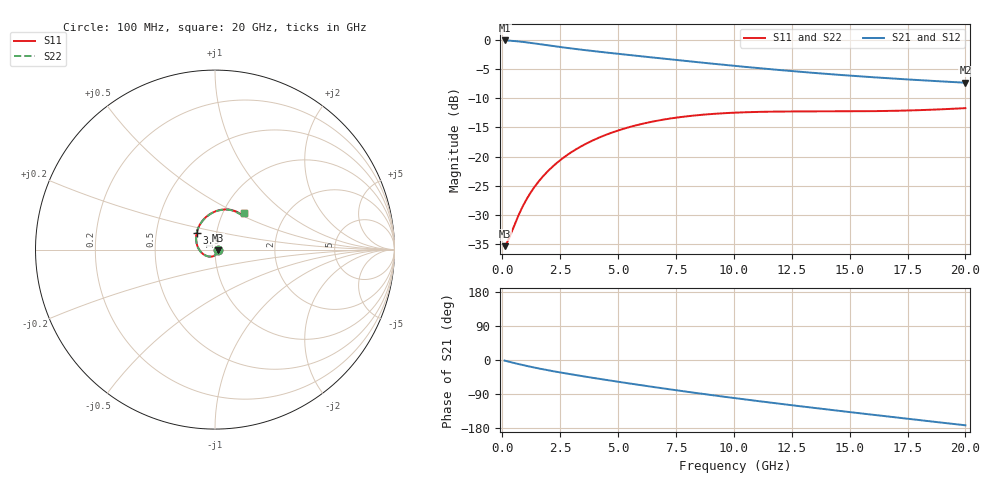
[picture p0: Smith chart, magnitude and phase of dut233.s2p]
! Touchstone file exported from HFSS 2024.1.0
!  File:  C:/UserFiles/LocalFiles/RDL_TSV_Batchsim/temp_RDL_TSV_233_1779452066.aedt
!  Generated:  08:27:48 PM May 22, 2026
!  Design:  RDL_TSV
!  Project:  temp_RDL_TSV_233_1779452066
!  Setup:  Setup1
!  Solution:  Sweep
! Variables:
!  dtsv = 14.58um
!  hbump = 3um
!  htsv = 69.83um
!  ldown = 153.9um
!  lrdl = 436.38um
!  p = 40
!  p1 = 40.05um
!  rhole = 10um
!  subl = 2207.22um
!  t = 450um
!  tdown = 4.56um
!  trdl = 2.01um
!  viad = 10um
!  wdown = 21.45um
!  wrdl = 21um
!  xbump = 18um
# GHz S MA R 50.000000
! Terminal data exported
! Port[1] = TM1_1_T1
! Port[2] = TM1_4_T1
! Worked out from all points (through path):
!   200 points, 100 MHz to 20 GHz, reference 50 ohm
!   highest |S21| = -0.15 dB at 100 MHz (marker M1); lowest = -7.4 dB at 20 GHz (marker M2)
!   group delay of S21, straight-line fit = 22.8 ps
!   lowest |S11| = -35.3 dB at 100 MHz (marker M3), VSWR 1.03, Z = 51.7 - j0.493 ohm
!   |S11| at or under -10 dB: start of sweep to end of sweep
!   |S22| runs from -35.3 to -11.8 dB; largest |S21 - S12| = 1.1e-14
!   S11 on the Smith chart (normalised r, x): 100 MHz: 1.03, -0.01; 3.9 GHz: 0.80, +0.15; 20 GHz: 1.25, +0.55
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0.1  0.01716 -16.1  0.9827 -1.6  0.9827 -1.6  0.01716 -16.1
! Gamma 0 0 0 0
! Port Impedance 50 0 50 0
0.2  0.01837 -31.5  0.9812 -3.2  0.9812 -3.2  0.01837 -31.5
0.3  0.02023 -45.7  0.9789 -4.7  0.9789 -4.7  0.02024 -45.7
0.7  0.03145 -89.5  0.9642 -10.7  0.9642 -10.7  0.03147 -89.4
0.9  0.03808 -105.8  0.9546 -13.5  0.9546 -13.5  0.03809 -105.7
1.2  0.0484 -126.2  0.9382 -17.6  0.9382 -17.6  0.04841 -126.1
1.5  0.05886 -143.1  0.9207 -21.4  0.9207 -21.4  0.05884 -143.0
1.9  0.07274 -162.0  0.8971 -26.2  0.8971 -26.2  0.07268 -161.9
2.4  0.08978 178.7  0.8691 -31.8  0.8691 -31.8  0.08965 178.8
2.9  0.1063 162.8  0.8434 -37.0  0.8434 -37.0  0.1061 163.0
3.5  0.1253 147.2  0.8156 -43.0  0.8156 -43.0  0.1249 147.3
3.9  0.1373 138.3  0.7986 -47.0  0.7986 -47.0  0.1369 138.4
5.3  0.1744 113.9  0.7445 -60.2  0.7445 -60.2  0.1737 114.0
6.8  0.2045 95.1  0.6925 -73.7  0.6925 -73.7  0.2036 95.2
8.3  0.2245 81.2  0.645 -86.5  0.645 -86.5  0.2235 81.3
10.1  0.2376 69.1  0.5943 -101.1  0.5943 -101.1  0.2364 69.1
11.7  0.2423 61.6  0.5554 -113.4  0.5554 -113.4  0.2409 61.6
13.4  0.2434 56.3  0.5201 -125.9  0.5201 -125.9  0.2419 56.4
15  0.2437 53.4  0.4921 -137.4  0.4921 -137.4  0.2422 53.5
16.7  0.2456 52.0  0.4669 -149.4  0.4669 -149.4  0.2442 52.1
18.3  0.2505 51.6  0.4466 -160.6  0.4466 -160.6  0.2492 51.7
20  0.2595 51.5  0.428 -172.3  0.428 -172.3  0.2582 51.7
